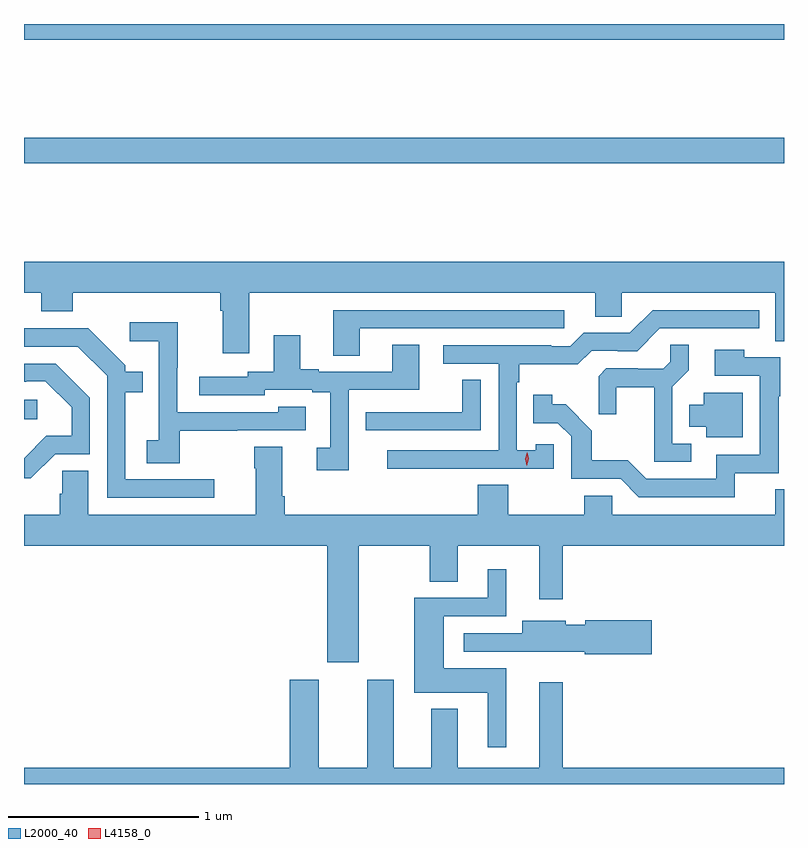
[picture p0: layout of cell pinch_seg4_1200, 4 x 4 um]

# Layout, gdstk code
import gdstk
lib = gdstk.Library(unit=1e-6, precision=1e-09)
def R(c, l, rs):  # rectangles x0, y0, x1, y1
    for r in rs: c.add(gdstk.rectangle(r[:2], r[2:], *l))
def P(c, l, *ps):  # polygons
    for p in ps: c.add(gdstk.Polygon(p, *l))
L2000_40 = (2000, 40)
L4158_0 = (4158, 0)

pinch_seg4_1200 = lib.new_cell('pinch_seg4_1200')
R(pinch_seg4_1200, L2000_40, [(336.238,825.458,336.307,825.561), (336.238,826.804,340.238,826.94), (336.238,827.456,340.238,827.538)])
P(pinch_seg4_1200, L2000_40, [(337.423,826.124),(339.245,826.124),(339.245,825.997),(339.384,825.997),(339.384,826.124),(340.193,826.124),(340.193,825.868),(340.238,825.868),(340.238,826.288),(336.238,826.288),(336.238,826.124),(336.329,826.124),(336.329,826.025),(336.494,826.025),(336.494,826.124),(337.271,826.124),(337.271,826.028),(337.283,826.028),(337.283,825.804),(337.423,825.804)],
  [(338.005,825.936),(339.082,825.936),(339.082,826.032),(337.865,826.032),(337.865,825.793),(338.005,825.793)],
  [(338.543,825.198),(339.027,825.198),(339.027,825.327),(338.931,825.327),(338.931,825.295),(338.832,825.295),(338.832,825.653),(338.845,825.653),(338.845,825.746),(339.152,825.746),(339.225,825.819),(339.364,825.819),(339.364,825.816),(339.465,825.816),(339.585,825.936),(340.108,825.936),(340.108,826.032),(339.546,826.032),(339.426,825.912),(339.183,825.912),(339.114,825.843),(339.014,825.843),(339.014,825.846),(338.445,825.846),(338.445,825.75),(338.736,825.75),(338.736,825.294),(338.151,825.294),(338.151,825.196),(338.543,825.196)],
  [(337.057,825.397),(337.361,825.397),(337.361,825.399),(337.72,825.399),(337.72,825.523),(337.575,825.523),(337.575,825.495),(337.044,825.495),(337.044,825.728),(337.047,825.728),(337.047,825.967),(336.795,825.967),(336.795,825.869),(336.948,825.869),(336.948,825.348),(336.885,825.348),(336.885,825.226),(337.057,825.226)],
  [(337.24,825.141),(336.772,825.141),(336.772,825.6),(336.863,825.6),(336.863,825.709),(336.771,825.709),(336.771,825.741),(336.576,825.936),(336.245,825.936),(336.245,825.938),(336.238,825.938),(336.238,825.84),(336.522,825.84),(336.675,825.687),(336.675,825.045),(337.24,825.045)],
  [(337.947,825.612),(338.317,825.612),(338.317,825.851),(338.177,825.851),(338.177,825.708),(337.789,825.708),(337.789,825.721),(337.693,825.721),(337.693,825.901),(337.553,825.901),(337.553,825.708),(337.416,825.708),(337.416,825.681),(337.161,825.681),(337.161,825.585),(337.506,825.585),(337.506,825.612),(337.754,825.612),(337.754,825.6),(337.85,825.6),(337.85,825.309),(337.779,825.309),(337.779,825.189),(337.947,825.189)],
  [(339.751,825.33),(339.651,825.33),(339.651,825.629),(339.737,825.715),(339.737,825.851),(339.639,825.851),(339.639,825.76),(339.602,825.723),(339.468,825.723),(339.468,825.726),(339.303,825.726),(339.262,825.685),(339.262,825.483),(339.356,825.483),(339.356,825.626),(339.554,825.626),(339.554,825.234),(339.751,825.234)],
  [(339.98,825.174),(340.211,825.174),(340.211,825.58),(340.219,825.58),(340.219,825.783),(340.029,825.783),(340.029,825.823),(339.873,825.823),(339.873,825.687),(340.11,825.687),(340.11,825.27),(339.881,825.27),(339.881,825.144),(339.513,825.144),(339.415,825.243),(339.226,825.243),(339.226,825.398),(339.088,825.536),(339.018,825.536),(339.018,825.586),(338.917,825.586),(338.917,825.438),(339.048,825.438),(339.117,825.369),(339.117,825.144),(339.378,825.144),(339.474,825.048),(339.98,825.048)],
  [(336.402,825.273),(336.585,825.273),(336.585,825.571),(336.406,825.75),(336.238,825.75),(336.238,825.654),(336.251,825.654),(336.251,825.657),(336.351,825.657),(336.488,825.52),(336.488,825.37),(336.355,825.37),(336.238,825.253),(336.238,825.146),(336.274,825.146)],
  [(338.643,825.665),(338.545,825.665),(338.545,825.495),(338.149,825.495),(338.149,825.494),(338.037,825.494),(338.037,825.399),(338.643,825.399)],
  [(340.021,825.598),(339.815,825.598),(339.815,825.535),(339.74,825.535),(339.74,825.419),(339.83,825.419),(339.83,825.362),(340.021,825.362)],
  [(337.999,824.792),(338.374,824.792),(338.374,824.602),(338.521,824.602),(338.521,824.792),(338.951,824.792),(338.951,824.511),(339.073,824.511),(339.073,824.792),(340.238,824.792),(340.238,825.089),(340.193,825.089),(340.193,824.956),(339.333,824.956),(339.333,825.054),(339.187,825.054),(339.187,824.956),(338.787,824.956),(338.787,825.113),(338.627,825.113),(338.627,824.956),(337.61,824.956),(337.61,825.052),(337.597,825.052),(337.597,825.313),(337.45,825.313),(337.45,825.2),(337.457,825.2),(337.457,824.956),(336.577,824.956),(336.577,825.188),(336.439,825.188),(336.439,825.066),(336.425,825.066),(336.425,824.956),(336.238,824.956),(336.238,824.792),(337.835,824.792),(337.835,824.178),(337.999,824.178)],
  [(338.776,824.146),(338.446,824.146),(338.446,824.421),(338.776,824.421),(338.776,824.668),(338.678,824.668),(338.678,824.517),(338.293,824.517),(338.293,824.018),(338.678,824.018),(338.678,823.731),(338.776,823.731)],
  [(339.541,824.4),(339.192,824.4),(339.192,824.377),(339.088,824.377),(339.088,824.398),(338.861,824.398),(338.861,824.331),(338.553,824.331),(338.553,824.235),(338.865,824.235),(338.865,824.234),(339.188,824.234),(339.188,824.222),(339.541,824.222)],
  [(340.238,823.624),(339.073,823.624),(339.073,824.074),(338.951,824.074),(338.951,823.624),(338.521,823.624),(338.521,823.933),(338.381,823.933),(338.381,823.624),(338.185,823.624),(338.185,824.086),(338.045,824.086),(338.045,823.624),(337.789,823.624),(337.789,824.086),(337.637,824.086),(337.637,823.624),(336.238,823.624),(336.238,823.538),(340.238,823.538)])
P(pinch_seg4_1200, L4158_0, [(338.885,825.213),(338.885,825.213),(338.875,825.249),(338.886,825.285),(338.886,825.285),(338.886,825.285),(338.895,825.249),(338.885,825.213)])

lib.write_gds('pinch_seg4_1200.gds')
